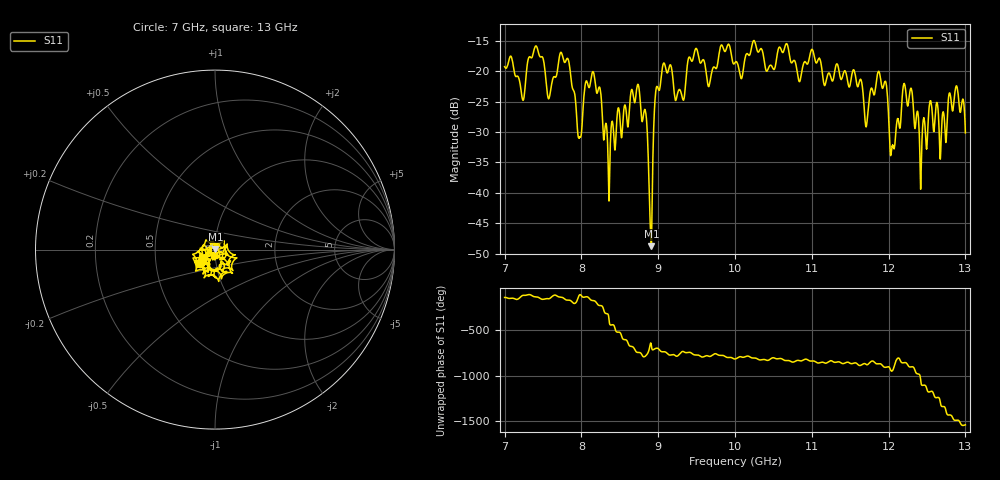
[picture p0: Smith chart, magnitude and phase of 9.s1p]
[Version] 2.0
! Rohde & Schwarz Vector Network Analyzer
! Rohde-Schwarz,ZNL20-2Port,1323001220200009,1.71.1.10-23.02.1.238
! Trace info:
! Nominal Param -> Actual Exported Buffer
! S11 -> S22
! Created: GMT+3 2024-09-24 16:38:22
# Hz S DB R 50
[Number of Ports] 1
! freq[Hz]  S11[mag dB]  S11[ang]
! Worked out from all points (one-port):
!   6001 points, 7 GHz to 13 GHz, reference 50 ohm
!   lowest |S11| = -48.8 dB at 8.911 GHz (marker M1), VSWR 1.01, Z = 50.2 + j0.301 ohm
!   |S11| at or under -10 dB: start of sweep to end of sweep
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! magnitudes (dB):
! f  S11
! 7 GHz  -19.3
! 7.239 GHz  -24.8
! 7.412 GHz  -15.9
! 7.578 GHz  -24.5
! 7.75 GHz  -17.3
! 7.974 GHz  -30.9
! 8.147 GHz  -20.1
! 8.353 GHz  -38.2
! 8.5 GHz  -27.5
! 8.741 GHz  -22.2
! 8.839 GHz  -26.9
! 8.911 GHz  -48.8
! 8.982 GHz  -22.5
! 9.079 GHz  -18.7
! 9.25 GHz  -23.8
! 9.49 GHz  -16.3
! 9.658 GHz  -22.5
! 10 GHz  -18.6
! 10.75 GHz  -18.5
! 11.5 GHz  -22.2
! 11.71 GHz  -29.1
! 11.88 GHz  -20.2
! 11.97 GHz  -22.0
! 12.05 GHz  -32.3
! 12.25 GHz  -25.7
! 12.42 GHz  -38.6
! 12.88 GHz  -22.4
! 13 GHz  -30.2
